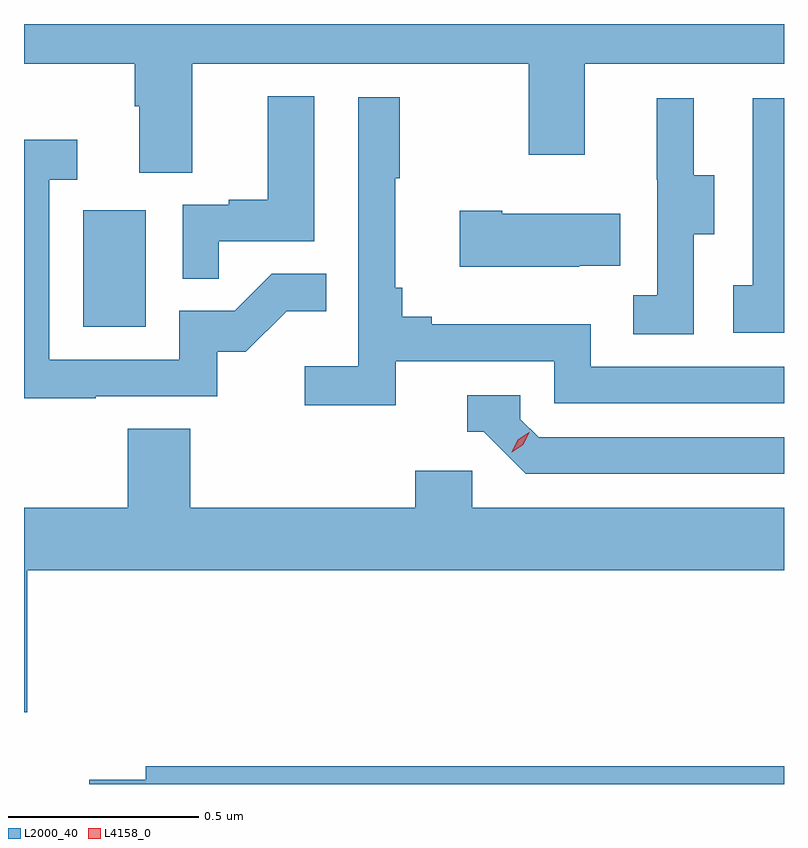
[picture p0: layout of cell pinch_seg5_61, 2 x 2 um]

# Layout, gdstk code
import gdstk
lib = gdstk.Library(unit=1e-6, precision=1e-09)
def R(c, l, rs):  # rectangles x0, y0, x1, y1
    for r in rs: c.add(gdstk.rectangle(r[:2], r[2:], *l))
def P(c, l, *ps):  # polygons
    for p in ps: c.add(gdstk.Polygon(p, *l))
L2000_40 = (2000, 40)
L4158_0 = (4158, 0)

pinch_seg5_61 = lib.new_cell('pinch_seg5_61')
R(pinch_seg5_61, L2000_40, [(1064.42,901.356,1064.584,901.663)])
P(pinch_seg5_61, L2000_40, [(1064.707,902.048),(1065.592,902.048),(1065.592,901.809),(1065.739,901.809),(1065.739,902.048),(1066.264,902.048),(1066.264,902.153),(1064.264,902.153),(1064.264,902.048),(1064.555,902.048),(1064.555,901.936),(1064.567,901.936),(1064.567,901.762),(1064.707,901.762)],
  [(1064.777,901.581),(1065.028,901.581),(1065.028,901.963),(1064.906,901.963),(1064.906,901.69),(1064.803,901.69),(1064.803,901.677),(1064.682,901.677),(1064.682,901.483),(1064.777,901.483)],
  [(1065.242,901.266),(1065.66,901.266),(1065.66,901.155),(1066.264,901.155),(1066.264,901.251),(1065.756,901.251),(1065.756,901.363),(1065.337,901.363),(1065.337,901.382),(1065.26,901.382),(1065.26,901.459),(1065.241,901.459),(1065.241,901.747),(1065.253,901.747),(1065.253,901.96),(1065.144,901.96),(1065.144,901.252),(1065.003,901.252),(1065.003,901.15),(1065.242,901.15)],
  [(1066.026,901.6),(1066.081,901.6),(1066.081,901.755),(1066.027,901.755),(1066.027,901.957),(1065.929,901.957),(1065.929,901.743),(1065.93,901.743),(1065.93,901.439),(1065.867,901.439),(1065.867,901.336),(1066.026,901.336)],
  [(1066.264,901.957),(1066.182,901.957),(1066.182,901.466),(1066.131,901.466),(1066.131,901.341),(1066.264,901.341)],
  [(1064.453,901.173),(1064.772,901.173),(1064.772,901.29),(1064.848,901.29),(1064.955,901.397),(1065.059,901.397),(1065.059,901.496),(1064.916,901.496),(1064.818,901.398),(1064.673,901.398),(1064.673,901.269),(1064.331,901.269),(1064.331,901.743),(1064.404,901.743),(1064.404,901.849),(1064.264,901.849),(1064.264,901.168),(1064.453,901.168)],
  [(1065.725,901.517),(1065.833,901.517),(1065.833,901.654),(1065.523,901.654),(1065.523,901.662),(1065.411,901.662),(1065.411,901.514),(1065.725,901.514)],
  [(1066.264,901.065),(1065.618,901.065),(1065.57,901.113),(1065.57,901.176),(1065.431,901.176),(1065.431,901.08),(1065.474,901.08),(1065.585,900.969),(1066.264,900.969)],
  [(1064.272,900.716),(1066.264,900.716),(1066.264,900.88),(1065.444,900.88),(1065.444,900.978),(1065.293,900.978),(1065.293,900.88),(1064.702,900.88),(1064.702,901.088),(1064.537,901.088),(1064.537,900.88),(1064.264,900.88),(1064.264,900.342),(1064.272,900.342)],
  [(1066.264,900.2),(1064.585,900.2),(1064.585,900.164),(1064.436,900.164),(1064.436,900.153),(1066.264,900.153)])
P(pinch_seg5_61, L4158_0, [(1065.548,901.026),(1065.548,901.026),(1065.563,901.059),(1065.594,901.079),(1065.594,901.079),(1065.594,901.079),(1065.578,901.046),(1065.548,901.026)])

lib.write_gds('pinch_seg5_61.gds')
